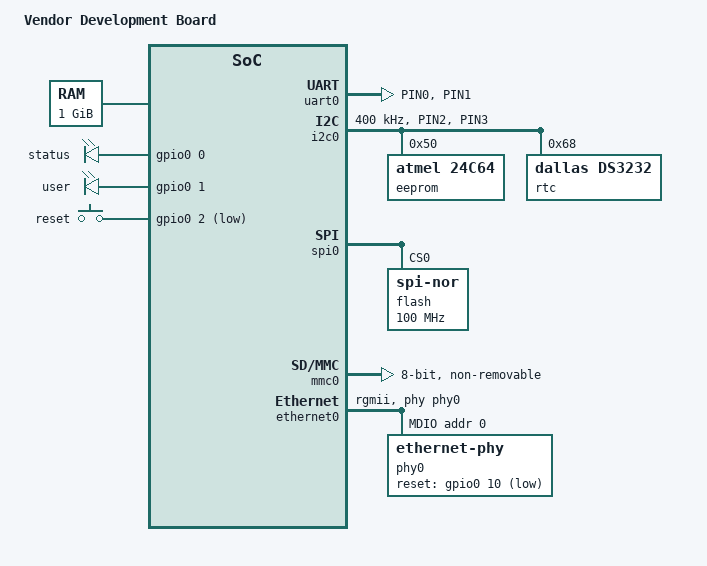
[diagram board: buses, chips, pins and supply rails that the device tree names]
// SPDX-License-Identifier: GPL-2.0
/*
 * Device Tree Source sample
 */

/dts-v1/;

/plugin/;

#include <dt-bindings/gpio/gpio.h>
#include <dt-bindings/interrupt-controller/irq.h>

/memreserve/ 0x80000000 0x10000000;

/ {
    #address-cells = <2>;
    #size-cells = <2>;
    compatible = "vendor,board";
    model = "Vendor Development Board";

    chosen {
        bootargs = "console=ttyS0,115200 root=/dev/mmcblk0p2";
        stdout-path = &uart0;
    };

    memory@80000000 {
        device_type = "memory";
        reg = <0x0 0x80000000 0x0 0x40000000>;
    };

    cpus {
        #address-cells = <1>;
        #size-cells = <0>;

        cpu@0 {
            device_type = "cpu";
            compatible = "arm,cortex-a53";
            reg = <0x0>;
            enable-method = "psci";
            clocks = <&clk_core>;
            clock-frequency = <1200000000>;
        };

        cpu@1 {
            device_type = "cpu";
            compatible = "arm,cortex-a53";
            reg = <0x1>;
            enable-method = "psci";
        };
    };

    psci {
        compatible = "arm,psci-1.0";
        method = "smc";
    };

    timer {
        compatible = "arm,armv8-timer";
        interrupts = <GIC_PPI 13 (GIC_CPU_MASK_SIMPLE(4) | IRQ_TYPE_LEVEL_LOW)>,
                     <GIC_PPI 14 (GIC_CPU_MASK_SIMPLE(4) | IRQ_TYPE_LEVEL_LOW)>,
                     <GIC_PPI 11 (GIC_CPU_MASK_SIMPLE(4) | IRQ_TYPE_LEVEL_LOW)>,
                     <GIC_PPI 10 (GIC_CPU_MASK_SIMPLE(4) | IRQ_TYPE_LEVEL_LOW)>;
    };

    clocks {
        clk_core: core-clk {
            compatible = "fixed-clock";
            #clock-cells = <0>;
            clock-frequency = <1200000000>;
            clock-output-names = "core";
        };

        clk_peri: peri-clk {
            compatible = "fixed-clock";
            #clock-cells = <0>;
            clock-frequency = <200000000>;
        };
    };

    soc {
        compatible = "simple-bus";
        #address-cells = <2>;
        #size-cells = <2>;
        ranges;

        uart0: serial@9000000 {
            compatible = "vendor,uart-16550";
            reg = <0x0 0x9000000 0x0 0x1000>;
            interrupts = <GIC_SPI 10 IRQ_TYPE_LEVEL_HIGH>;
            clocks = <&clk_peri>;
            clock-names = "apb";
            status = "okay";
        };

        uart1: serial@9001000 {
            compatible = "vendor,uart-16550";
            reg = <0x0 0x9001000 0x0 0x1000>;
            interrupts = <GIC_SPI 11 IRQ_TYPE_LEVEL_HIGH>;
            clocks = <&clk_peri>;
            status = "disabled";
        };

        gpio0: gpio@9100000 {
            compatible = "vendor,gpio";
            reg = <0x0 0x9100000 0x0 0x1000>;
            interrupts = <GIC_SPI 20 IRQ_TYPE_LEVEL_HIGH>;
            gpio-controller;
            #gpio-cells = <2>;
            interrupt-controller;
            #interrupt-cells = <2>;
            ngpios = <32>;
            gpio-ranges = <&pinctrl 0 0 32>;
        };

        i2c0: i2c@9200000 {
            compatible = "vendor,i2c";
            reg = <0x0 0x9200000 0x0 0x1000>;
            interrupts = <GIC_SPI 30 IRQ_TYPE_LEVEL_HIGH>;
            clocks = <&clk_peri>;
            clock-frequency = <400000>;
            #address-cells = <1>;
            #size-cells = <0>;
            status = "okay";

            eeprom@50 {
                compatible = "atmel,24c64";
                reg = <0x50>;
                pagesize = <32>;
            };

            rtc@68 {
                compatible = "dallas,ds3232";
                reg = <0x68>;
            };
        };

        spi0: spi@9300000 {
            compatible = "vendor,spi";
            reg = <0x0 0x9300000 0x0 0x1000>;
            interrupts = <GIC_SPI 40 IRQ_TYPE_LEVEL_HIGH>;
            clocks = <&clk_peri>;
            #address-cells = <1>;
            #size-cells = <0>;
            status = "okay";

            flash@0 {
                compatible = "jedec,spi-nor";
                reg = <0>;
                spi-max-frequency = <100000000>;
                spi-tx-bus-width = <4>;
                spi-rx-bus-width = <4>;
                m25p,fast-read;
            };
        };

        mmc0: mmc@9400000 {
            compatible = "vendor,sdhci";
            reg = <0x0 0x9400000 0x0 0x1000>;
            interrupts = <GIC_SPI 50 IRQ_TYPE_LEVEL_HIGH>;
            clocks = <&clk_peri>;
            bus-width = <8>;
            non-removable;
            cap-mmc-highspeed;
            mmc-ddr-1_8v;
            status = "okay";
        };

        ethernet0: ethernet@9500000 {
            compatible = "vendor,ethernet";
            reg = <0x0 0x9500000 0x0 0x10000>;
            interrupts = <GIC_SPI 60 IRQ_TYPE_LEVEL_HIGH>;
            clocks = <&clk_peri>;
            phy-mode = "rgmii";
            phy-handle = <&phy0>;
            status = "okay";

            mdio {
                #address-cells = <1>;
                #size-cells = <0>;

                phy0: ethernet-phy@0 {
                    reg = <0>;
                    reset-gpios = <&gpio0 10 GPIO_ACTIVE_LOW>;
                };
            };
        };

        gic: interrupt-controller@a000000 {
            compatible = "arm,gic-v3";
            reg = <0x0 0xa000000 0x0 0x10000>,
                  <0x0 0xa100000 0x0 0x100000>;
            interrupts = <GIC_PPI 9 (GIC_CPU_MASK_SIMPLE(4) | IRQ_TYPE_LEVEL_HIGH)>;
            interrupt-controller;
            #interrupt-cells = <3>;
        };

        pinctrl: pinctrl@b000000 {
            compatible = "vendor,pinctrl";
            reg = <0x0 0xb000000 0x0 0x1000>;

            uart0_pins: uart0-pins {
                pins = "PIN0", "PIN1";
                function = "uart0";
                bias-pull-up;
            };

            i2c0_pins: i2c0-pins {
                pins = "PIN2", "PIN3";
                function = "i2c0";
                bias-pull-up;
                drive-strength = <4>;
            };
        };
    };

    leds {
        compatible = "gpio-leds";

        led0 {
            label = "status";
            gpios = <&gpio0 0 GPIO_ACTIVE_HIGH>;
            default-state = "on";
            linux,default-trigger = "heartbeat";
        };

        led1 {
            label = "user";
            gpios = <&gpio0 1 GPIO_ACTIVE_HIGH>;
            default-state = "off";
        };
    };

    buttons {
        compatible = "gpio-keys";

        button0 {
            label = "reset";
            gpios = <&gpio0 2 GPIO_ACTIVE_LOW>;
            linux,code = <KEY_RESTART>;
            debounce-interval = <100>;
        };
    };
};

/delete-node/ &uart1;
/delete-property/ /chosen/bootargs;

&uart0 {
    pinctrl-names = "default";
    pinctrl-0 = <&uart0_pins>;
};

&i2c0 {
    pinctrl-names = "default";
    pinctrl-0 = <&i2c0_pins>;
};
